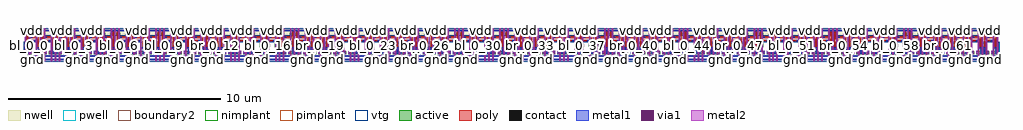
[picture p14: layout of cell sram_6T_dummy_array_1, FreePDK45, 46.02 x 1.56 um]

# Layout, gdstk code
import gdstk
lib = gdstk.Library(unit=1e-6, precision=5e-10)
def R(c, l, rs):  # rectangles x0, y0, x1, y1
    for r in rs: c.add(gdstk.rectangle(r[:2], r[2:], *l))
def A(c, l, x, y, w, h, nx, ny, dx, dy):  # array of equal rectangles
    R(c, l, [(x+i*dx, y+j*dy, x+i*dx+w, y+j*dy+h) for i in range(nx) for j in range(ny)])
active = (1, 0)
pwell = (2, 0)
nwell = (3, 0)
nimplant = (4, 0)
pimplant = (5, 0)
vtg = (6, 0)
poly = (9, 0)
contact = (10, 0)
metal1 = (11, 0)
via1 = (12, 0)
metal2 = (13, 0)
boundary2 = (239, 0)

dummy_cell_1rw = lib.new_cell('dummy_cell_1rw')
R(dummy_cell_1rw, active, [(0.3025,-0.045,0.3925,0.045), (0.3025,-0.045,0.3925,0.045), (0.045,0.2475,0.305,0.3825), (0.045,0.2475,0.12,0.3825), (0.045,0.2475,0.12,0.3825), (0.23,0.2475,0.305,0.3825), (0.23,0.2475,0.305,0.3825), (0.4,0.2475,0.66,0.3825), (0.4,0.2475,0.475,0.3825), (0.4,0.2475,0.475,0.3825), (0.585,0.2475,0.66,0.3825), (0.585,0.2475,0.66,0.3825), (0.045,0.3075,0.12,0.3825), (0.23,0.3075,0.305,0.3825), (0.4,0.3075,0.475,0.3825), (0.585,0.3075,0.66,0.3825), (-0.04,0.5675,0.04,0.7725), (-0.035,0.5675,0.225,0.7725), (-0.035,0.5675,0.04,0.7725), (0.15,0.5675,0.225,0.7725), (0.15,0.5675,0.225,0.7725), (0.48,0.5675,0.74,0.7725), (0.48,0.5675,0.555,0.7725), (0.48,0.5675,0.555,0.7725), (0.665,0.5675,0.74,0.7725), (0.665,0.5675,0.745,0.7725), (-0.035,0.6975,0.04,0.7725), (0.15,0.6975,0.225,0.7725), (0.48,0.6975,0.555,0.7725), (0.665,0.6975,0.74,0.7725), (-0.04,1.1625,0.04,1.2525), (-0.035,1.1625,0.04,1.2375), (-0.035,1.1625,0.225,1.2525), (-0.035,1.1625,0.04,1.2525), (0.15,1.1625,0.225,1.2375), (0.15,1.1625,0.225,1.2525), (0.15,1.1625,0.225,1.2525), (0.48,1.1625,0.555,1.2375), (0.48,1.1625,0.74,1.2525), (0.48,1.1625,0.555,1.2525), (0.48,1.1625,0.555,1.2525), (0.665,1.1625,0.74,1.2375), (0.665,1.1625,0.74,1.2525), (0.665,1.1625,0.745,1.2525), (0.3025,1.32,0.3925,1.41), (0.3025,1.32,0.3925,1.41)])
R(dummy_cell_1rw, pwell, [(-0.095,-0.1,0.8,0.8275), (0.2475,-0.1,0.4475,0.1), (0.2475,-0.08,0.4475,0.12), (-0.01,0.1925,0.36,0.4375), (0.345,0.1925,0.715,0.4375), (-0.09,0.5125,0.28,0.8275), (0.425,0.5125,0.795,0.8275)])
R(dummy_cell_1rw, nwell, [(-0.095,1.1075,0.8,1.465), (-0.09,1.1075,0.28,1.3075), (0.425,1.1075,0.795,1.3075), (0.2475,1.265,0.4475,1.465), (0.2475,1.265,0.4475,1.465)])
R(dummy_cell_1rw, nimplant, [(0.045,0.2475,0.305,0.3825), (0.4,0.2475,0.66,0.3825), (-0.035,0.5675,0.225,0.7725), (0.48,0.5675,0.74,0.7725), (0.3025,1.32,0.3925,1.41), (0.3025,1.32,0.3925,1.41)])
R(dummy_cell_1rw, pimplant, [(0.3025,-0.045,0.3925,0.045), (-0.035,1.1625,0.225,1.2525), (0.48,1.1625,0.74,1.2525)])
R(dummy_cell_1rw, vtg, [(-0.09,-0.1,0.795,0.8275), (-0.01,0.1925,0.36,0.4375), (0.345,0.1925,0.715,0.4375), (-0.09,0.5125,0.28,0.8275), (0.425,0.5125,0.795,0.8275), (-0.09,1.1075,0.28,1.3075), (-0.09,1.1075,0.795,1.465), (0.425,1.1075,0.795,1.3075)])
R(dummy_cell_1rw, poly, [(0.07,0.1225,0.635,0.1975), (0.2975,0.1225,0.3725,0.1975), (0.15,0.1925,0.2,0.2475), (0.15,0.1925,0.2,0.4375), (0.505,0.1925,0.555,0.2475), (0.505,0.1925,0.555,0.4375), (0.15,0.3825,0.2,0.4375), (0.505,0.3825,0.555,0.4375), (0.07,0.5125,0.12,0.5675), (0.07,0.5125,0.12,0.8275), (0.585,0.5125,0.635,0.5675), (0.585,0.5125,0.635,0.8275), (0.07,0.7725,0.12,0.8275), (0.585,0.7725,0.635,0.8275), (0.07,0.8275,0.12,1.1075), (0.07,0.8275,0.12,1.1075), (0.585,0.8275,0.635,1.1075), (0.585,0.8275,0.635,1.1075), (0.07,0.8625,0.5025,0.9375), (0.4275,0.8625,0.5025,0.9375), (0.4275,0.8625,0.5025,0.9375), (0.2025,1.0125,0.2775,1.0875), (0.2025,1.0125,0.2775,1.0875), (0.2025,1.0125,0.635,1.0875), (0.07,1.1075,0.12,1.1625), (0.07,1.1075,0.12,1.3075), (0.585,1.1075,0.635,1.1625), (0.585,1.1075,0.635,1.3075), (0.07,1.2525,0.12,1.3075), (0.585,1.2525,0.635,1.3075)])
R(dummy_cell_1rw, contact, [(0.315,-0.0325,0.38,0.0325), (0.3025,0.1275,0.3675,0.1925), (0.05,0.3125,0.115,0.3775), (0.235,0.3125,0.3,0.3775), (0.405,0.3125,0.47,0.3775), (0.59,0.3125,0.655,0.3775), (-0.0325,0.7025,0.0325,0.7675), (0.155,0.7025,0.22,0.7675), (0.485,0.7025,0.55,0.7675), (0.6725,0.7025,0.7375,0.7675), (0.4325,0.8675,0.4975,0.9325), (0.4325,0.8675,0.4975,0.9325), (0.2075,1.0175,0.2725,1.0825), (0.2075,1.0175,0.2725,1.0825), (-0.0325,1.1675,0.0325,1.2325), (0.155,1.1675,0.22,1.2325), (0.485,1.1675,0.55,1.2325), (0.6725,1.1675,0.7375,1.2325), (0.315,1.3325,0.38,1.3975)])
R(dummy_cell_1rw, metal1, [(-0.09,-0.0325,0.795,0.0325), (-0.09,-0.0325,0.795,0.0325), (0.285,-0.0325,0.42,0.0325), (0.285,-0.0325,0.42,0.0325), (0.6375,-0.0325,0.7725,0.0325), (0.6375,-0.0325,0.7725,0.0325), (0.6375,-0.0325,0.7725,0.0325), (0.6375,-0.0325,0.7725,0.0325), (-0.09,0.1275,0.795,0.1925), (-0.09,0.1275,0.795,0.1925), (0.2675,0.1275,0.4025,0.1925), (-0.085,0.13,-0.0325,0.1925), (0.62,0.13,0.6725,0.1925), (0.05,0.2775,0.115,0.4125), (0.05,0.2775,0.12,0.5675), (0.2225,0.2775,0.2875,0.4125), (0.235,0.2775,0.3,0.4125), (0.405,0.2775,0.47,0.4125), (0.4175,0.2775,0.4825,0.4125), (0.59,0.2775,0.655,0.4125), (0.59,0.2775,0.66,0.5675), (0.05,0.5025,0.22,0.5675), (0.155,0.5025,0.22,1.2425), (0.485,0.5025,0.66,0.5675), (0.485,0.5025,0.55,1.1325), (-0.035,0.6675,0.035,0.8025), (-0.035,0.6675,0.035,0.8025), (-0.03,0.6675,0.035,0.8025), (0.155,0.6675,0.22,0.8025), (0.485,0.6675,0.55,0.8025), (0.67,0.6675,0.735,0.8025), (0.67,0.6675,0.74,0.8025), (0.67,0.6675,0.74,0.8025), (0.67,0.6675,0.74,0.8025), (0.67,0.6675,0.74,0.8025), (0.67,0.6675,0.74,0.8025), (0.67,0.6675,0.74,0.8025), (-0.0325,0.77,0.0325,0.905), (-0.0325,0.77,0.0325,0.905), (-0.0325,0.77,0.0325,0.905), (-0.0325,0.77,0.0325,0.905), (-0.0325,0.77,0.0325,0.905), (-0.0325,0.77,0.0325,0.905), (0.6725,0.77,0.7375,0.905), (0.6725,0.77,0.7375,0.905), (0.6725,0.77,0.7375,0.905), (0.6725,0.77,0.7375,0.905), (0.6725,0.77,0.7375,0.905), (0.6725,0.77,0.7375,0.905), (0.6725,0.77,0.7375,0.905), (0.6725,0.77,0.7375,0.905), (0.6725,0.77,0.7375,0.905), (0.6725,0.77,0.7375,0.905), (0.6725,0.77,0.7375,0.905), (0.6725,0.77,0.7375,0.905), (0.6725,0.77,0.7375,0.905), (0.6725,0.77,0.7375,0.905), (0.6725,0.77,0.7375,0.905), (0.6725,0.77,0.7375,0.905), (0.6725,0.77,0.7375,0.905), (0.6725,0.77,0.7375,0.905), (0.6725,0.77,0.7375,0.905), (0.6725,0.77,0.7375,0.905), (0.6725,0.77,0.7375,0.905), (0.6725,0.77,0.7375,0.905), (0.6725,0.77,0.7375,0.905), (0.6725,0.77,0.7375,0.905), (0.3975,0.8675,0.5325,0.9325), (0.3975,0.8675,0.5325,0.9325), (0.1725,1.0175,0.3075,1.0825), (0.1725,1.0175,0.3075,1.0825), (-0.035,1.1325,0.035,1.3325), (-0.03,1.1325,0.035,1.2675), (0.155,1.1325,0.22,1.2675), (0.485,1.1325,0.55,1.2675), (0.67,1.1325,0.735,1.2675), (0.67,1.1325,0.74,1.3325), (0.67,1.1325,0.74,1.3325), (-0.09,1.3325,0.795,1.3975), (-0.09,1.3325,0.795,1.3975)])
R(dummy_cell_1rw, via1, [(-0.0325,-0.0325,0.0325,0.0325), (-0.0325,-0.0325,0.0325,0.0325), (0.6725,-0.0325,0.7375,0.0325), (0.6725,-0.0325,0.7375,0.0325), (0.6725,-0.0325,0.7375,0.0325), (0.6725,-0.0325,0.7375,0.0325), (-0.0325,0.805,0.0325,0.87), (-0.0325,0.805,0.0325,0.87), (-0.0325,0.805,0.0325,0.87), (-0.0325,0.805,0.0325,0.87), (-0.0325,0.805,0.0325,0.87), (-0.0325,0.805,0.0325,0.87), (0.6725,0.805,0.7375,0.87), (0.6725,0.805,0.7375,0.87), (0.6725,0.805,0.7375,0.87), (0.6725,0.805,0.7375,0.87), (0.6725,0.805,0.7375,0.87), (0.6725,0.805,0.7375,0.87), (0.6725,0.805,0.7375,0.87), (0.6725,0.805,0.7375,0.87), (0.6725,0.805,0.7375,0.87), (0.6725,0.805,0.7375,0.87), (0.6725,0.805,0.7375,0.87), (0.6725,0.805,0.7375,0.87), (0.6725,0.805,0.7375,0.87), (0.6725,0.805,0.7375,0.87), (0.6725,0.805,0.7375,0.87), (0.6725,0.805,0.7375,0.87), (0.6725,0.805,0.7375,0.87), (0.6725,0.805,0.7375,0.87), (0.6725,0.805,0.7375,0.87), (0.6725,0.805,0.7375,0.87), (0.6725,0.805,0.7375,0.87), (0.6725,0.805,0.7375,0.87), (0.6725,0.805,0.7375,0.87), (0.6725,0.805,0.7375,0.87)])
R(dummy_cell_1rw, metal2, [(-0.035,-0.08,0.035,1.465), (0.15,-0.08,0.22,1.465), (0.15,-0.08,0.22,1.465), (0.485,-0.08,0.555,1.465), (0.485,-0.08,0.555,1.465), (0.67,-0.08,0.74,1.465), (0.6375,-0.035,0.7725,0.035), (0.6375,-0.035,0.7725,0.035), (0.6375,-0.035,0.7725,0.035), (0.6375,-0.035,0.7725,0.035), (0.4925,-0.0325,0.55,0.0275), (-0.03,-0.03,0.03,0.0275), (0.1575,-0.025,0.2125,0.0275), (0.675,-0.025,0.735,0.0325), (0.67,-0.0125,0.74,1.3975), (0.22,0.2775,0.29,0.4125), (0.415,0.2775,0.485,0.4125), (-0.035,0.77,0.035,0.905), (-0.035,0.77,0.035,0.905), (-0.035,0.77,0.035,0.905), (-0.035,0.77,0.035,0.905), (-0.035,0.77,0.035,0.905), (-0.035,0.77,0.035,0.905), (0.67,0.77,0.74,0.905), (0.67,0.77,0.74,0.905), (0.67,0.77,0.74,0.905), (0.67,0.77,0.74,0.905), (0.67,0.77,0.74,0.905), (0.67,0.77,0.74,0.905), (0.67,0.77,0.74,0.905), (0.67,0.77,0.74,0.905), (0.67,0.77,0.74,0.905), (0.67,0.77,0.74,0.905), (0.67,0.77,0.74,0.905), (0.67,0.77,0.74,0.905), (0.67,0.77,0.74,0.905), (0.67,0.77,0.74,0.905), (0.67,0.77,0.74,0.905), (0.67,0.77,0.74,0.905), (0.67,0.77,0.74,0.905), (0.67,0.77,0.74,0.905), (0.67,0.77,0.74,0.905), (0.67,0.77,0.74,0.905), (0.67,0.77,0.74,0.905), (0.67,0.77,0.74,0.905), (0.67,0.77,0.74,0.905), (0.67,0.77,0.74,0.905)])
R(dummy_cell_1rw, boundary2, [(0,0.02,0.705,1.365)])
dummy_cell_1rw.add(gdstk.Label('gnd', (0.345,0), layer=11, texttype=0))
dummy_cell_1rw.add(gdstk.Label('vdd', (0.345,1.365), layer=11, texttype=0))
dummy_cell_1rw.add(gdstk.Label('wl', (-0.05,0.167), layer=11, texttype=0))
dummy_cell_1rw.add(gdstk.Label('br', (0.52,0.003), layer=13, texttype=0))
dummy_cell_1rw.add(gdstk.Label('bl', (0.19,0.003), layer=13, texttype=0))
dummy_cell_1rw.add(gdstk.Label('bl', (0.185,0.6925), layer=13, texttype=0))
dummy_cell_1rw.add(gdstk.Label('br', (0.52,0.6925), layer=13, texttype=0))
dummy_cell_1rw.add(gdstk.Label('wl', (0.3525,0.16), layer=11, texttype=0))
dummy_cell_1rw.add(gdstk.Label('vdd', (0.3525,1.365), layer=11, texttype=0))
dummy_cell_1rw.add(gdstk.Label('gnd', (0.3525,0), layer=11, texttype=0))

sram_6t_dummy_array_1 = lib.new_cell('sram_6T_dummy_array_1')
A(sram_6t_dummy_array_1, metal1, -0.09, -0.0325, 0.885, 0.065, 65, 2, 0.705, 1.365)
R(sram_6t_dummy_array_1, metal1, [(0,0.1275,45.825,0.1925)])
R(sram_6t_dummy_array_1, metal2, [(0.15,0,0.22,1.365), (0.485,0,0.555,1.365), (0.855,0,0.925,1.365), (1.19,0,1.26,1.365), (1.56,0,1.63,1.365), (1.895,0,1.965,1.365), (2.265,0,2.335,1.365), (2.6,0,2.67,1.365), (2.97,0,3.04,1.365), (3.305,0,3.375,1.365), (3.675,0,3.745,1.365), (4.01,0,4.08,1.365), (4.38,0,4.45,1.365), (4.715,0,4.785,1.365), (5.085,0,5.155,1.365), (5.42,0,5.49,1.365), (5.79,0,5.86,1.365), (6.125,0,6.195,1.365), (6.495,0,6.565,1.365), (6.83,0,6.9,1.365), (7.2,0,7.27,1.365), (7.535,0,7.605,1.365), (7.905,0,7.975,1.365), (8.24,0,8.31,1.365), (8.61,0,8.68,1.365), (8.945,0,9.015,1.365), (9.315,0,9.385,1.365), (9.65,0,9.72,1.365), (10.02,0,10.09,1.365), (10.355,0,10.425,1.365), (10.725,0,10.795,1.365), (11.06,0,11.13,1.365), (11.43,0,11.5,1.365), (11.765,0,11.835,1.365), (12.135,0,12.205,1.365), (12.47,0,12.54,1.365), (12.84,0,12.91,1.365), (13.175,0,13.245,1.365), (13.545,0,13.615,1.365), (13.88,0,13.95,1.365), (14.25,0,14.32,1.365), (14.585,0,14.655,1.365), (14.955,0,15.025,1.365), (15.29,0,15.36,1.365), (15.66,0,15.73,1.365), (15.995,0,16.065,1.365), (16.365,0,16.435,1.365), (16.7,0,16.77,1.365), (17.07,0,17.14,1.365), (17.405,0,17.475,1.365), (17.775,0,17.845,1.365), (18.11,0,18.18,1.365), (18.48,0,18.55,1.365), (18.815,0,18.885,1.365), (19.185,0,19.255,1.365), (19.52,0,19.59,1.365), (19.89,0,19.96,1.365), (20.225,0,20.295,1.365), (20.595,0,20.665,1.365), (20.93,0,21,1.365), (21.3,0,21.37,1.365), (21.635,0,21.705,1.365), (22.005,0,22.075,1.365), (22.34,0,22.41,1.365), (22.71,0,22.78,1.365), (23.045,0,23.115,1.365), (23.415,0,23.485,1.365), (23.75,0,23.82,1.365), (24.12,0,24.19,1.365), (24.455,0,24.525,1.365), (24.825,0,24.895,1.365), (25.16,0,25.23,1.365), (25.53,0,25.6,1.365), (25.865,0,25.935,1.365), (26.235,0,26.305,1.365), (26.57,0,26.64,1.365), (26.94,0,27.01,1.365), (27.275,0,27.345,1.365), (27.645,0,27.715,1.365), (27.98,0,28.05,1.365), (28.35,0,28.42,1.365), (28.685,0,28.755,1.365), (29.055,0,29.125,1.365), (29.39,0,29.46,1.365), (29.76,0,29.83,1.365), (30.095,0,30.165,1.365), (30.465,0,30.535,1.365), (30.8,0,30.87,1.365), (31.17,0,31.24,1.365), (31.505,0,31.575,1.365), (31.875,0,31.945,1.365), (32.21,0,32.28,1.365), (32.58,0,32.65,1.365), (32.915,0,32.985,1.365), (33.285,0,33.355,1.365), (33.62,0,33.69,1.365), (33.99,0,34.06,1.365), (34.325,0,34.395,1.365), (34.695,0,34.765,1.365), (35.03,0,35.1,1.365), (35.4,0,35.47,1.365), (35.735,0,35.805,1.365), (36.105,0,36.175,1.365), (36.44,0,36.51,1.365), (36.81,0,36.88,1.365), (37.145,0,37.215,1.365), (37.515,0,37.585,1.365), (37.85,0,37.92,1.365), (38.22,0,38.29,1.365), (38.555,0,38.625,1.365), (38.925,0,38.995,1.365), (39.26,0,39.33,1.365), (39.63,0,39.7,1.365), (39.965,0,40.035,1.365), (40.335,0,40.405,1.365), (40.67,0,40.74,1.365), (41.04,0,41.11,1.365), (41.375,0,41.445,1.365), (41.745,0,41.815,1.365), (42.08,0,42.15,1.365), (42.45,0,42.52,1.365), (42.785,0,42.855,1.365), (43.155,0,43.225,1.365), (43.49,0,43.56,1.365), (43.86,0,43.93,1.365), (44.195,0,44.265,1.365), (44.565,0,44.635,1.365), (44.9,0,44.97,1.365), (45.27,0,45.34,1.365), (45.605,0,45.675,1.365)])
R(sram_6t_dummy_array_1, boundary2, [(0,0,45.825,1.365)])
sram_6t_dummy_array_1.add(gdstk.Reference(dummy_cell_1rw, (0,0)))
sram_6t_dummy_array_1.add(gdstk.Reference(dummy_cell_1rw, (0.705,0)))
sram_6t_dummy_array_1.add(gdstk.Reference(dummy_cell_1rw, (1.41,0)))
sram_6t_dummy_array_1.add(gdstk.Reference(dummy_cell_1rw, (2.115,0)))
sram_6t_dummy_array_1.add(gdstk.Reference(dummy_cell_1rw, (2.82,0)))
sram_6t_dummy_array_1.add(gdstk.Reference(dummy_cell_1rw, (3.525,0)))
sram_6t_dummy_array_1.add(gdstk.Reference(dummy_cell_1rw, (4.23,0)))
sram_6t_dummy_array_1.add(gdstk.Reference(dummy_cell_1rw, (4.935,0)))
sram_6t_dummy_array_1.add(gdstk.Reference(dummy_cell_1rw, (5.64,0)))
sram_6t_dummy_array_1.add(gdstk.Reference(dummy_cell_1rw, (6.345,0)))
sram_6t_dummy_array_1.add(gdstk.Reference(dummy_cell_1rw, (7.05,0)))
sram_6t_dummy_array_1.add(gdstk.Reference(dummy_cell_1rw, (7.755,0)))
sram_6t_dummy_array_1.add(gdstk.Reference(dummy_cell_1rw, (8.46,0)))
sram_6t_dummy_array_1.add(gdstk.Reference(dummy_cell_1rw, (9.165,0)))
sram_6t_dummy_array_1.add(gdstk.Reference(dummy_cell_1rw, (9.87,0)))
sram_6t_dummy_array_1.add(gdstk.Reference(dummy_cell_1rw, (10.575,0)))
sram_6t_dummy_array_1.add(gdstk.Reference(dummy_cell_1rw, (11.28,0)))
sram_6t_dummy_array_1.add(gdstk.Reference(dummy_cell_1rw, (11.985,0)))
sram_6t_dummy_array_1.add(gdstk.Reference(dummy_cell_1rw, (12.69,0)))
sram_6t_dummy_array_1.add(gdstk.Reference(dummy_cell_1rw, (13.395,0)))
sram_6t_dummy_array_1.add(gdstk.Reference(dummy_cell_1rw, (14.1,0)))
sram_6t_dummy_array_1.add(gdstk.Reference(dummy_cell_1rw, (14.805,0)))
sram_6t_dummy_array_1.add(gdstk.Reference(dummy_cell_1rw, (15.51,0)))
sram_6t_dummy_array_1.add(gdstk.Reference(dummy_cell_1rw, (16.215,0)))
sram_6t_dummy_array_1.add(gdstk.Reference(dummy_cell_1rw, (16.92,0)))
sram_6t_dummy_array_1.add(gdstk.Reference(dummy_cell_1rw, (17.625,0)))
sram_6t_dummy_array_1.add(gdstk.Reference(dummy_cell_1rw, (18.33,0)))
sram_6t_dummy_array_1.add(gdstk.Reference(dummy_cell_1rw, (19.035,0)))
sram_6t_dummy_array_1.add(gdstk.Reference(dummy_cell_1rw, (19.74,0)))
sram_6t_dummy_array_1.add(gdstk.Reference(dummy_cell_1rw, (20.445,0)))
sram_6t_dummy_array_1.add(gdstk.Reference(dummy_cell_1rw, (21.15,0)))
sram_6t_dummy_array_1.add(gdstk.Reference(dummy_cell_1rw, (21.855,0)))
sram_6t_dummy_array_1.add(gdstk.Reference(dummy_cell_1rw, (22.56,0)))
sram_6t_dummy_array_1.add(gdstk.Reference(dummy_cell_1rw, (23.265,0)))
sram_6t_dummy_array_1.add(gdstk.Reference(dummy_cell_1rw, (23.97,0)))
sram_6t_dummy_array_1.add(gdstk.Reference(dummy_cell_1rw, (24.675,0)))
sram_6t_dummy_array_1.add(gdstk.Reference(dummy_cell_1rw, (25.38,0)))
sram_6t_dummy_array_1.add(gdstk.Reference(dummy_cell_1rw, (26.085,0)))
sram_6t_dummy_array_1.add(gdstk.Reference(dummy_cell_1rw, (26.79,0)))
sram_6t_dummy_array_1.add(gdstk.Reference(dummy_cell_1rw, (27.495,0)))
sram_6t_dummy_array_1.add(gdstk.Reference(dummy_cell_1rw, (28.2,0)))
sram_6t_dummy_array_1.add(gdstk.Reference(dummy_cell_1rw, (28.905,0)))
sram_6t_dummy_array_1.add(gdstk.Reference(dummy_cell_1rw, (29.61,0)))
sram_6t_dummy_array_1.add(gdstk.Reference(dummy_cell_1rw, (30.315,0)))
sram_6t_dummy_array_1.add(gdstk.Reference(dummy_cell_1rw, (31.02,0)))
sram_6t_dummy_array_1.add(gdstk.Reference(dummy_cell_1rw, (31.725,0)))
sram_6t_dummy_array_1.add(gdstk.Reference(dummy_cell_1rw, (32.43,0)))
sram_6t_dummy_array_1.add(gdstk.Reference(dummy_cell_1rw, (33.135,0)))
sram_6t_dummy_array_1.add(gdstk.Reference(dummy_cell_1rw, (33.84,0)))
sram_6t_dummy_array_1.add(gdstk.Reference(dummy_cell_1rw, (34.545,0)))
sram_6t_dummy_array_1.add(gdstk.Reference(dummy_cell_1rw, (35.25,0)))
sram_6t_dummy_array_1.add(gdstk.Reference(dummy_cell_1rw, (35.955,0)))
sram_6t_dummy_array_1.add(gdstk.Reference(dummy_cell_1rw, (36.66,0)))
sram_6t_dummy_array_1.add(gdstk.Reference(dummy_cell_1rw, (37.365,0)))
sram_6t_dummy_array_1.add(gdstk.Reference(dummy_cell_1rw, (38.07,0)))
sram_6t_dummy_array_1.add(gdstk.Reference(dummy_cell_1rw, (38.775,0)))
sram_6t_dummy_array_1.add(gdstk.Reference(dummy_cell_1rw, (39.48,0)))
sram_6t_dummy_array_1.add(gdstk.Reference(dummy_cell_1rw, (40.185,0)))
sram_6t_dummy_array_1.add(gdstk.Reference(dummy_cell_1rw, (40.89,0)))
sram_6t_dummy_array_1.add(gdstk.Reference(dummy_cell_1rw, (41.595,0)))
sram_6t_dummy_array_1.add(gdstk.Reference(dummy_cell_1rw, (42.3,0)))
sram_6t_dummy_array_1.add(gdstk.Reference(dummy_cell_1rw, (43.005,0)))
sram_6t_dummy_array_1.add(gdstk.Reference(dummy_cell_1rw, (43.71,0)))
sram_6t_dummy_array_1.add(gdstk.Reference(dummy_cell_1rw, (44.415,0)))
sram_6t_dummy_array_1.add(gdstk.Reference(dummy_cell_1rw, (45.12,0)))
sram_6t_dummy_array_1.add(gdstk.Label('bl_0_0', (0.185,0.6825), layer=13, texttype=0))
sram_6t_dummy_array_1.add(gdstk.Label('br_0_0', (0.52,0.6825), layer=13, texttype=0))
sram_6t_dummy_array_1.add(gdstk.Label('bl_0_1', (0.89,0.6825), layer=13, texttype=0))
sram_6t_dummy_array_1.add(gdstk.Label('br_0_1', (1.225,0.6825), layer=13, texttype=0))
sram_6t_dummy_array_1.add(gdstk.Label('bl_0_2', (1.595,0.6825), layer=13, texttype=0))
sram_6t_dummy_array_1.add(gdstk.Label('br_0_2', (1.93,0.6825), layer=13, texttype=0))
sram_6t_dummy_array_1.add(gdstk.Label('bl_0_3', (2.3,0.6825), layer=13, texttype=0))
sram_6t_dummy_array_1.add(gdstk.Label('br_0_3', (2.635,0.6825), layer=13, texttype=0))
sram_6t_dummy_array_1.add(gdstk.Label('bl_0_4', (3.005,0.6825), layer=13, texttype=0))
sram_6t_dummy_array_1.add(gdstk.Label('br_0_4', (3.34,0.6825), layer=13, texttype=0))
sram_6t_dummy_array_1.add(gdstk.Label('bl_0_5', (3.71,0.6825), layer=13, texttype=0))
sram_6t_dummy_array_1.add(gdstk.Label('br_0_5', (4.045,0.6825), layer=13, texttype=0))
sram_6t_dummy_array_1.add(gdstk.Label('bl_0_6', (4.415,0.6825), layer=13, texttype=0))
sram_6t_dummy_array_1.add(gdstk.Label('br_0_6', (4.75,0.6825), layer=13, texttype=0))
sram_6t_dummy_array_1.add(gdstk.Label('bl_0_7', (5.12,0.6825), layer=13, texttype=0))
sram_6t_dummy_array_1.add(gdstk.Label('br_0_7', (5.455,0.6825), layer=13, texttype=0))
sram_6t_dummy_array_1.add(gdstk.Label('bl_0_8', (5.825,0.6825), layer=13, texttype=0))
sram_6t_dummy_array_1.add(gdstk.Label('br_0_8', (6.16,0.6825), layer=13, texttype=0))
sram_6t_dummy_array_1.add(gdstk.Label('bl_0_9', (6.53,0.6825), layer=13, texttype=0))
sram_6t_dummy_array_1.add(gdstk.Label('br_0_9', (6.865,0.6825), layer=13, texttype=0))
sram_6t_dummy_array_1.add(gdstk.Label('bl_0_10', (7.235,0.6825), layer=13, texttype=0))
sram_6t_dummy_array_1.add(gdstk.Label('br_0_10', (7.57,0.6825), layer=13, texttype=0))
sram_6t_dummy_array_1.add(gdstk.Label('bl_0_11', (7.94,0.6825), layer=13, texttype=0))
sram_6t_dummy_array_1.add(gdstk.Label('br_0_11', (8.275,0.6825), layer=13, texttype=0))
sram_6t_dummy_array_1.add(gdstk.Label('bl_0_12', (8.645,0.6825), layer=13, texttype=0))
sram_6t_dummy_array_1.add(gdstk.Label('br_0_12', (8.98,0.6825), layer=13, texttype=0))
sram_6t_dummy_array_1.add(gdstk.Label('bl_0_13', (9.35,0.6825), layer=13, texttype=0))
sram_6t_dummy_array_1.add(gdstk.Label('br_0_13', (9.685,0.6825), layer=13, texttype=0))
sram_6t_dummy_array_1.add(gdstk.Label('bl_0_14', (10.055,0.6825), layer=13, texttype=0))
sram_6t_dummy_array_1.add(gdstk.Label('br_0_14', (10.39,0.6825), layer=13, texttype=0))
sram_6t_dummy_array_1.add(gdstk.Label('bl_0_15', (10.76,0.6825), layer=13, texttype=0))
sram_6t_dummy_array_1.add(gdstk.Label('br_0_15', (11.095,0.6825), layer=13, texttype=0))
sram_6t_dummy_array_1.add(gdstk.Label('bl_0_16', (11.465,0.6825), layer=13, texttype=0))
sram_6t_dummy_array_1.add(gdstk.Label('br_0_16', (11.8,0.6825), layer=13, texttype=0))
sram_6t_dummy_array_1.add(gdstk.Label('bl_0_17', (12.17,0.6825), layer=13, texttype=0))
sram_6t_dummy_array_1.add(gdstk.Label('br_0_17', (12.505,0.6825), layer=13, texttype=0))
sram_6t_dummy_array_1.add(gdstk.Label('bl_0_18', (12.875,0.6825), layer=13, texttype=0))
sram_6t_dummy_array_1.add(gdstk.Label('br_0_18', (13.21,0.6825), layer=13, texttype=0))
sram_6t_dummy_array_1.add(gdstk.Label('bl_0_19', (13.58,0.6825), layer=13, texttype=0))
sram_6t_dummy_array_1.add(gdstk.Label('br_0_19', (13.915,0.6825), layer=13, texttype=0))
sram_6t_dummy_array_1.add(gdstk.Label('bl_0_20', (14.285,0.6825), layer=13, texttype=0))
sram_6t_dummy_array_1.add(gdstk.Label('br_0_20', (14.62,0.6825), layer=13, texttype=0))
sram_6t_dummy_array_1.add(gdstk.Label('bl_0_21', (14.99,0.6825), layer=13, texttype=0))
sram_6t_dummy_array_1.add(gdstk.Label('br_0_21', (15.325,0.6825), layer=13, texttype=0))
sram_6t_dummy_array_1.add(gdstk.Label('bl_0_22', (15.695,0.6825), layer=13, texttype=0))
sram_6t_dummy_array_1.add(gdstk.Label('br_0_22', (16.03,0.6825), layer=13, texttype=0))
sram_6t_dummy_array_1.add(gdstk.Label('bl_0_23', (16.4,0.6825), layer=13, texttype=0))
sram_6t_dummy_array_1.add(gdstk.Label('br_0_23', (16.735,0.6825), layer=13, texttype=0))
sram_6t_dummy_array_1.add(gdstk.Label('bl_0_24', (17.105,0.6825), layer=13, texttype=0))
sram_6t_dummy_array_1.add(gdstk.Label('br_0_24', (17.44,0.6825), layer=13, texttype=0))
sram_6t_dummy_array_1.add(gdstk.Label('bl_0_25', (17.81,0.6825), layer=13, texttype=0))
sram_6t_dummy_array_1.add(gdstk.Label('br_0_25', (18.145,0.6825), layer=13, texttype=0))
sram_6t_dummy_array_1.add(gdstk.Label('bl_0_26', (18.515,0.6825), layer=13, texttype=0))
sram_6t_dummy_array_1.add(gdstk.Label('br_0_26', (18.85,0.6825), layer=13, texttype=0))
sram_6t_dummy_array_1.add(gdstk.Label('bl_0_27', (19.22,0.6825), layer=13, texttype=0))
sram_6t_dummy_array_1.add(gdstk.Label('br_0_27', (19.555,0.6825), layer=13, texttype=0))
sram_6t_dummy_array_1.add(gdstk.Label('bl_0_28', (19.925,0.6825), layer=13, texttype=0))
sram_6t_dummy_array_1.add(gdstk.Label('br_0_28', (20.26,0.6825), layer=13, texttype=0))
sram_6t_dummy_array_1.add(gdstk.Label('bl_0_29', (20.63,0.6825), layer=13, texttype=0))
sram_6t_dummy_array_1.add(gdstk.Label('br_0_29', (20.965,0.6825), layer=13, texttype=0))
sram_6t_dummy_array_1.add(gdstk.Label('bl_0_30', (21.335,0.6825), layer=13, texttype=0))
sram_6t_dummy_array_1.add(gdstk.Label('br_0_30', (21.67,0.6825), layer=13, texttype=0))
sram_6t_dummy_array_1.add(gdstk.Label('bl_0_31', (22.04,0.6825), layer=13, texttype=0))
sram_6t_dummy_array_1.add(gdstk.Label('br_0_31', (22.375,0.6825), layer=13, texttype=0))
sram_6t_dummy_array_1.add(gdstk.Label('bl_0_32', (22.745,0.6825), layer=13, texttype=0))
sram_6t_dummy_array_1.add(gdstk.Label('br_0_32', (23.08,0.6825), layer=13, texttype=0))
sram_6t_dummy_array_1.add(gdstk.Label('bl_0_33', (23.45,0.6825), layer=13, texttype=0))
sram_6t_dummy_array_1.add(gdstk.Label('br_0_33', (23.785,0.6825), layer=13, texttype=0))
sram_6t_dummy_array_1.add(gdstk.Label('bl_0_34', (24.155,0.6825), layer=13, texttype=0))
sram_6t_dummy_array_1.add(gdstk.Label('br_0_34', (24.49,0.6825), layer=13, texttype=0))
sram_6t_dummy_array_1.add(gdstk.Label('bl_0_35', (24.86,0.6825), layer=13, texttype=0))
sram_6t_dummy_array_1.add(gdstk.Label('br_0_35', (25.195,0.6825), layer=13, texttype=0))
sram_6t_dummy_array_1.add(gdstk.Label('bl_0_36', (25.565,0.6825), layer=13, texttype=0))
sram_6t_dummy_array_1.add(gdstk.Label('br_0_36', (25.9,0.6825), layer=13, texttype=0))
sram_6t_dummy_array_1.add(gdstk.Label('bl_0_37', (26.27,0.6825), layer=13, texttype=0))
sram_6t_dummy_array_1.add(gdstk.Label('br_0_37', (26.605,0.6825), layer=13, texttype=0))
sram_6t_dummy_array_1.add(gdstk.Label('bl_0_38', (26.975,0.6825), layer=13, texttype=0))
sram_6t_dummy_array_1.add(gdstk.Label('br_0_38', (27.31,0.6825), layer=13, texttype=0))
sram_6t_dummy_array_1.add(gdstk.Label('bl_0_39', (27.68,0.6825), layer=13, texttype=0))
sram_6t_dummy_array_1.add(gdstk.Label('br_0_39', (28.015,0.6825), layer=13, texttype=0))
sram_6t_dummy_array_1.add(gdstk.Label('bl_0_40', (28.385,0.6825), layer=13, texttype=0))
sram_6t_dummy_array_1.add(gdstk.Label('br_0_40', (28.72,0.6825), layer=13, texttype=0))
sram_6t_dummy_array_1.add(gdstk.Label('bl_0_41', (29.09,0.6825), layer=13, texttype=0))
sram_6t_dummy_array_1.add(gdstk.Label('br_0_41', (29.425,0.6825), layer=13, texttype=0))
sram_6t_dummy_array_1.add(gdstk.Label('bl_0_42', (29.795,0.6825), layer=13, texttype=0))
sram_6t_dummy_array_1.add(gdstk.Label('br_0_42', (30.13,0.6825), layer=13, texttype=0))
sram_6t_dummy_array_1.add(gdstk.Label('bl_0_43', (30.5,0.6825), layer=13, texttype=0))
sram_6t_dummy_array_1.add(gdstk.Label('br_0_43', (30.835,0.6825), layer=13, texttype=0))
sram_6t_dummy_array_1.add(gdstk.Label('bl_0_44', (31.205,0.6825), layer=13, texttype=0))
sram_6t_dummy_array_1.add(gdstk.Label('br_0_44', (31.54,0.6825), layer=13, texttype=0))
sram_6t_dummy_array_1.add(gdstk.Label('bl_0_45', (31.91,0.6825), layer=13, texttype=0))
sram_6t_dummy_array_1.add(gdstk.Label('br_0_45', (32.245,0.6825), layer=13, texttype=0))
sram_6t_dummy_array_1.add(gdstk.Label('bl_0_46', (32.615,0.6825), layer=13, texttype=0))
sram_6t_dummy_array_1.add(gdstk.Label('br_0_46', (32.95,0.6825), layer=13, texttype=0))
sram_6t_dummy_array_1.add(gdstk.Label('bl_0_47', (33.32,0.6825), layer=13, texttype=0))
sram_6t_dummy_array_1.add(gdstk.Label('br_0_47', (33.655,0.6825), layer=13, texttype=0))
sram_6t_dummy_array_1.add(gdstk.Label('bl_0_48', (34.025,0.6825), layer=13, texttype=0))
sram_6t_dummy_array_1.add(gdstk.Label('br_0_48', (34.36,0.6825), layer=13, texttype=0))
sram_6t_dummy_array_1.add(gdstk.Label('bl_0_49', (34.73,0.6825), layer=13, texttype=0))
sram_6t_dummy_array_1.add(gdstk.Label('br_0_49', (35.065,0.6825), layer=13, texttype=0))
sram_6t_dummy_array_1.add(gdstk.Label('bl_0_50', (35.435,0.6825), layer=13, texttype=0))
sram_6t_dummy_array_1.add(gdstk.Label('br_0_50', (35.77,0.6825), layer=13, texttype=0))
sram_6t_dummy_array_1.add(gdstk.Label('bl_0_51', (36.14,0.6825), layer=13, texttype=0))
sram_6t_dummy_array_1.add(gdstk.Label('br_0_51', (36.475,0.6825), layer=13, texttype=0))
sram_6t_dummy_array_1.add(gdstk.Label('bl_0_52', (36.845,0.6825), layer=13, texttype=0))
sram_6t_dummy_array_1.add(gdstk.Label('br_0_52', (37.18,0.6825), layer=13, texttype=0))
sram_6t_dummy_array_1.add(gdstk.Label('bl_0_53', (37.55,0.6825), layer=13, texttype=0))
sram_6t_dummy_array_1.add(gdstk.Label('br_0_53', (37.885,0.6825), layer=13, texttype=0))
sram_6t_dummy_array_1.add(gdstk.Label('bl_0_54', (38.255,0.6825), layer=13, texttype=0))
sram_6t_dummy_array_1.add(gdstk.Label('br_0_54', (38.59,0.6825), layer=13, texttype=0))
sram_6t_dummy_array_1.add(gdstk.Label('bl_0_55', (38.96,0.6825), layer=13, texttype=0))
sram_6t_dummy_array_1.add(gdstk.Label('br_0_55', (39.295,0.6825), layer=13, texttype=0))
sram_6t_dummy_array_1.add(gdstk.Label('bl_0_56', (39.665,0.6825), layer=13, texttype=0))
sram_6t_dummy_array_1.add(gdstk.Label('br_0_56', (40,0.6825), layer=13, texttype=0))
sram_6t_dummy_array_1.add(gdstk.Label('bl_0_57', (40.37,0.6825), layer=13, texttype=0))
sram_6t_dummy_array_1.add(gdstk.Label('br_0_57', (40.705,0.6825), layer=13, texttype=0))
sram_6t_dummy_array_1.add(gdstk.Label('bl_0_58', (41.075,0.6825), layer=13, texttype=0))
sram_6t_dummy_array_1.add(gdstk.Label('br_0_58', (41.41,0.6825), layer=13, texttype=0))
sram_6t_dummy_array_1.add(gdstk.Label('bl_0_59', (41.78,0.6825), layer=13, texttype=0))
sram_6t_dummy_array_1.add(gdstk.Label('br_0_59', (42.115,0.6825), layer=13, texttype=0))
sram_6t_dummy_array_1.add(gdstk.Label('bl_0_60', (42.485,0.6825), layer=13, texttype=0))
sram_6t_dummy_array_1.add(gdstk.Label('br_0_60', (42.82,0.6825), layer=13, texttype=0))
sram_6t_dummy_array_1.add(gdstk.Label('bl_0_61', (43.19,0.6825), layer=13, texttype=0))
sram_6t_dummy_array_1.add(gdstk.Label('br_0_61', (43.525,0.6825), layer=13, texttype=0))
sram_6t_dummy_array_1.add(gdstk.Label('bl_0_62', (43.895,0.6825), layer=13, texttype=0))
sram_6t_dummy_array_1.add(gdstk.Label('br_0_62', (44.23,0.6825), layer=13, texttype=0))
sram_6t_dummy_array_1.add(gdstk.Label('bl_0_63', (44.6,0.6825), layer=13, texttype=0))
sram_6t_dummy_array_1.add(gdstk.Label('br_0_63', (44.935,0.6825), layer=13, texttype=0))
sram_6t_dummy_array_1.add(gdstk.Label('bl_0_64', (45.305,0.6825), layer=13, texttype=0))
sram_6t_dummy_array_1.add(gdstk.Label('br_0_64', (45.64,0.6825), layer=13, texttype=0))
sram_6t_dummy_array_1.add(gdstk.Label('wl_0_0', (22.9125,0.16), layer=11, texttype=0))
sram_6t_dummy_array_1.add(gdstk.Label('vdd', (5.2875,1.365), layer=11, texttype=0))
sram_6t_dummy_array_1.add(gdstk.Label('vdd', (13.7475,1.365), layer=11, texttype=0))
sram_6t_dummy_array_1.add(gdstk.Label('vdd', (21.5025,1.365), layer=11, texttype=0))
sram_6t_dummy_array_1.add(gdstk.Label('vdd', (39.1275,1.365), layer=11, texttype=0))
sram_6t_dummy_array_1.add(gdstk.Label('vdd', (28.5525,1.365), layer=11, texttype=0))
sram_6t_dummy_array_1.add(gdstk.Label('vdd', (45.4725,1.365), layer=11, texttype=0))
sram_6t_dummy_array_1.add(gdstk.Label('vdd', (23.6175,1.365), layer=11, texttype=0))
sram_6t_dummy_array_1.add(gdstk.Label('vdd', (32.0775,1.365), layer=11, texttype=0))
sram_6t_dummy_array_1.add(gdstk.Label('vdd', (19.3875,1.365), layer=11, texttype=0))
sram_6t_dummy_array_1.add(gdstk.Label('vdd', (7.4025,1.365), layer=11, texttype=0))
sram_6t_dummy_array_1.add(gdstk.Label('vdd', (11.6325,1.365), layer=11, texttype=0))
sram_6t_dummy_array_1.add(gdstk.Label('vdd', (29.9625,1.365), layer=11, texttype=0))
sram_6t_dummy_array_1.add(gdstk.Label('vdd', (27.8475,1.365), layer=11, texttype=0))
sram_6t_dummy_array_1.add(gdstk.Label('vdd', (37.0125,1.365), layer=11, texttype=0))
sram_6t_dummy_array_1.add(gdstk.Label('vdd', (5.9925,1.365), layer=11, texttype=0))
sram_6t_dummy_array_1.add(gdstk.Label('vdd', (15.1575,1.365), layer=11, texttype=0))
sram_6t_dummy_array_1.add(gdstk.Label('vdd', (33.4875,1.365), layer=11, texttype=0))
sram_6t_dummy_array_1.add(gdstk.Label('vdd', (26.4375,1.365), layer=11, texttype=0))
sram_6t_dummy_array_1.add(gdstk.Label('vdd', (42.6525,1.365), layer=11, texttype=0))
sram_6t_dummy_array_1.add(gdstk.Label('vdd', (12.3375,1.365), layer=11, texttype=0))
sram_6t_dummy_array_1.add(gdstk.Label('vdd', (17.9775,1.365), layer=11, texttype=0))
sram_6t_dummy_array_1.add(gdstk.Label('vdd', (8.8125,1.365), layer=11, texttype=0))
sram_6t_dummy_array_1.add(gdstk.Label('vdd', (3.1725,1.365), layer=11, texttype=0))
sram_6t_dummy_array_1.add(gdstk.Label('vdd', (40.5375,1.365), layer=11, texttype=0))
sram_6t_dummy_array_1.add(gdstk.Label('vdd', (41.9475,1.365), layer=11, texttype=0))
sram_6t_dummy_array_1.add(gdstk.Label('vdd', (6.6975,1.365), layer=11, texttype=0))
sram_6t_dummy_array_1.add(gdstk.Label('vdd', (10.2225,1.365), layer=11, texttype=0))
sram_6t_dummy_array_1.add(gdstk.Label('vdd', (10.9275,1.365), layer=11, texttype=0))
sram_6t_dummy_array_1.add(gdstk.Label('vdd', (24.3225,1.365), layer=11, texttype=0))
sram_6t_dummy_array_1.add(gdstk.Label('vdd', (37.7175,1.365), layer=11, texttype=0))
sram_6t_dummy_array_1.add(gdstk.Label('vdd', (13.0425,1.365), layer=11, texttype=0))
sram_6t_dummy_array_1.add(gdstk.Label('vdd', (35.6025,1.365), layer=11, texttype=0))
sram_6t_dummy_array_1.add(gdstk.Label('vdd', (0.3525,1.365), layer=11, texttype=0))
sram_6t_dummy_array_1.add(gdstk.Label('vdd', (36.3075,1.365), layer=11, texttype=0))
sram_6t_dummy_array_1.add(gdstk.Label('vdd', (1.7625,1.365), layer=11, texttype=0))
sram_6t_dummy_array_1.add(gdstk.Label('vdd', (43.3575,1.365), layer=11, texttype=0))
sram_6t_dummy_array_1.add(gdstk.Label('vdd', (44.7675,1.365), layer=11, texttype=0))
sram_6t_dummy_array_1.add(gdstk.Label('vdd', (22.9125,1.365), layer=11, texttype=0))
sram_6t_dummy_array_1.add(gdstk.Label('vdd', (34.8975,1.365), layer=11, texttype=0))
sram_6t_dummy_array_1.add(gdstk.Label('vdd', (14.4525,1.365), layer=11, texttype=0))
sram_6t_dummy_array_1.add(gdstk.Label('vdd', (15.8625,1.365), layer=11, texttype=0))
sram_6t_dummy_array_1.add(gdstk.Label('vdd', (3.8775,1.365), layer=11, texttype=0))
sram_6t_dummy_array_1.add(gdstk.Label('vdd', (41.2425,1.365), layer=11, texttype=0))
sram_6t_dummy_array_1.add(gdstk.Label('vdd', (44.0625,1.365), layer=11, texttype=0))
sram_6t_dummy_array_1.add(gdstk.Label('vdd', (25.7325,1.365), layer=11, texttype=0))
sram_6t_dummy_array_1.add(gdstk.Label('vdd', (16.5675,1.365), layer=11, texttype=0))
sram_6t_dummy_array_1.add(gdstk.Label('vdd', (20.7975,1.365), layer=11, texttype=0))
sram_6t_dummy_array_1.add(gdstk.Label('vdd', (32.7825,1.365), layer=11, texttype=0))
sram_6t_dummy_array_1.add(gdstk.Label('vdd', (20.0925,1.365), layer=11, texttype=0))
sram_6t_dummy_array_1.add(gdstk.Label('vdd', (22.2075,1.365), layer=11, texttype=0))
sram_6t_dummy_array_1.add(gdstk.Label('vdd', (17.2725,1.365), layer=11, texttype=0))
sram_6t_dummy_array_1.add(gdstk.Label('vdd', (38.4225,1.365), layer=11, texttype=0))
sram_6t_dummy_array_1.add(gdstk.Label('vdd', (25.0275,1.365), layer=11, texttype=0))
sram_6t_dummy_array_1.add(gdstk.Label('vdd', (29.2575,1.365), layer=11, texttype=0))
sram_6t_dummy_array_1.add(gdstk.Label('vdd', (27.1425,1.365), layer=11, texttype=0))
sram_6t_dummy_array_1.add(gdstk.Label('vdd', (18.6825,1.365), layer=11, texttype=0))
sram_6t_dummy_array_1.add(gdstk.Label('vdd', (2.4675,1.365), layer=11, texttype=0))
sram_6t_dummy_array_1.add(gdstk.Label('vdd', (30.6675,1.365), layer=11, texttype=0))
sram_6t_dummy_array_1.add(gdstk.Label('vdd', (31.3725,1.365), layer=11, texttype=0))
sram_6t_dummy_array_1.add(gdstk.Label('vdd', (39.8325,1.365), layer=11, texttype=0))
sram_6t_dummy_array_1.add(gdstk.Label('vdd', (34.1925,1.365), layer=11, texttype=0))
sram_6t_dummy_array_1.add(gdstk.Label('vdd', (8.1075,1.365), layer=11, texttype=0))
sram_6t_dummy_array_1.add(gdstk.Label('vdd', (9.5175,1.365), layer=11, texttype=0))
sram_6t_dummy_array_1.add(gdstk.Label('vdd', (1.0575,1.365), layer=11, texttype=0))
sram_6t_dummy_array_1.add(gdstk.Label('vdd', (4.5825,1.365), layer=11, texttype=0))
sram_6t_dummy_array_1.add(gdstk.Label('gnd', (5.2875,0), layer=11, texttype=0))
sram_6t_dummy_array_1.add(gdstk.Label('gnd', (32.7825,0), layer=11, texttype=0))
sram_6t_dummy_array_1.add(gdstk.Label('gnd', (20.7975,0), layer=11, texttype=0))
sram_6t_dummy_array_1.add(gdstk.Label('gnd', (30.6675,0), layer=11, texttype=0))
sram_6t_dummy_array_1.add(gdstk.Label('gnd', (14.4525,0), layer=11, texttype=0))
sram_6t_dummy_array_1.add(gdstk.Label('gnd', (10.9275,0), layer=11, texttype=0))
sram_6t_dummy_array_1.add(gdstk.Label('gnd', (42.6525,0), layer=11, texttype=0))
sram_6t_dummy_array_1.add(gdstk.Label('gnd', (38.4225,0), layer=11, texttype=0))
sram_6t_dummy_array_1.add(gdstk.Label('gnd', (39.1275,0), layer=11, texttype=0))
sram_6t_dummy_array_1.add(gdstk.Label('gnd', (24.3225,0), layer=11, texttype=0))
sram_6t_dummy_array_1.add(gdstk.Label('gnd', (19.3875,0), layer=11, texttype=0))
sram_6t_dummy_array_1.add(gdstk.Label('gnd', (3.8775,0), layer=11, texttype=0))
sram_6t_dummy_array_1.add(gdstk.Label('gnd', (26.4375,0), layer=11, texttype=0))
sram_6t_dummy_array_1.add(gdstk.Label('gnd', (41.9475,0), layer=11, texttype=0))
sram_6t_dummy_array_1.add(gdstk.Label('gnd', (18.6825,0), layer=11, texttype=0))
sram_6t_dummy_array_1.add(gdstk.Label('gnd', (29.2575,0), layer=11, texttype=0))
sram_6t_dummy_array_1.add(gdstk.Label('gnd', (36.3075,0), layer=11, texttype=0))
sram_6t_dummy_array_1.add(gdstk.Label('gnd', (27.8475,0), layer=11, texttype=0))
sram_6t_dummy_array_1.add(gdstk.Label('gnd', (29.9625,0), layer=11, texttype=0))
sram_6t_dummy_array_1.add(gdstk.Label('gnd', (31.3725,0), layer=11, texttype=0))
sram_6t_dummy_array_1.add(gdstk.Label('gnd', (16.5675,0), layer=11, texttype=0))
sram_6t_dummy_array_1.add(gdstk.Label('gnd', (20.0925,0), layer=11, texttype=0))
sram_6t_dummy_array_1.add(gdstk.Label('gnd', (28.5525,0), layer=11, texttype=0))
sram_6t_dummy_array_1.add(gdstk.Label('gnd', (10.2225,0), layer=11, texttype=0))
sram_6t_dummy_array_1.add(gdstk.Label('gnd', (2.4675,0), layer=11, texttype=0))
sram_6t_dummy_array_1.add(gdstk.Label('gnd', (1.7625,0), layer=11, texttype=0))
sram_6t_dummy_array_1.add(gdstk.Label('gnd', (11.6325,0), layer=11, texttype=0))
sram_6t_dummy_array_1.add(gdstk.Label('gnd', (5.9925,0), layer=11, texttype=0))
sram_6t_dummy_array_1.add(gdstk.Label('gnd', (17.9775,0), layer=11, texttype=0))
sram_6t_dummy_array_1.add(gdstk.Label('gnd', (13.0425,0), layer=11, texttype=0))
sram_6t_dummy_array_1.add(gdstk.Label('gnd', (35.6025,0), layer=11, texttype=0))
sram_6t_dummy_array_1.add(gdstk.Label('gnd', (12.3375,0), layer=11, texttype=0))
sram_6t_dummy_array_1.add(gdstk.Label('gnd', (3.1725,0), layer=11, texttype=0))
sram_6t_dummy_array_1.add(gdstk.Label('gnd', (0.3525,0), layer=11, texttype=0))
sram_6t_dummy_array_1.add(gdstk.Label('gnd', (21.5025,0), layer=11, texttype=0))
sram_6t_dummy_array_1.add(gdstk.Label('gnd', (27.1425,0), layer=11, texttype=0))
sram_6t_dummy_array_1.add(gdstk.Label('gnd', (15.8625,0), layer=11, texttype=0))
sram_6t_dummy_array_1.add(gdstk.Label('gnd', (25.7325,0), layer=11, texttype=0))
sram_6t_dummy_array_1.add(gdstk.Label('gnd', (45.4725,0), layer=11, texttype=0))
sram_6t_dummy_array_1.add(gdstk.Label('gnd', (17.2725,0), layer=11, texttype=0))
sram_6t_dummy_array_1.add(gdstk.Label('gnd', (33.4875,0), layer=11, texttype=0))
sram_6t_dummy_array_1.add(gdstk.Label('gnd', (4.5825,0), layer=11, texttype=0))
sram_6t_dummy_array_1.add(gdstk.Label('gnd', (34.1925,0), layer=11, texttype=0))
sram_6t_dummy_array_1.add(gdstk.Label('gnd', (22.9125,0), layer=11, texttype=0))
sram_6t_dummy_array_1.add(gdstk.Label('gnd', (41.2425,0), layer=11, texttype=0))
sram_6t_dummy_array_1.add(gdstk.Label('gnd', (43.3575,0), layer=11, texttype=0))
sram_6t_dummy_array_1.add(gdstk.Label('gnd', (22.2075,0), layer=11, texttype=0))
sram_6t_dummy_array_1.add(gdstk.Label('gnd', (7.4025,0), layer=11, texttype=0))
sram_6t_dummy_array_1.add(gdstk.Label('gnd', (34.8975,0), layer=11, texttype=0))
sram_6t_dummy_array_1.add(gdstk.Label('gnd', (37.0125,0), layer=11, texttype=0))
sram_6t_dummy_array_1.add(gdstk.Label('gnd', (44.7675,0), layer=11, texttype=0))
sram_6t_dummy_array_1.add(gdstk.Label('gnd', (13.7475,0), layer=11, texttype=0))
sram_6t_dummy_array_1.add(gdstk.Label('gnd', (37.7175,0), layer=11, texttype=0))
sram_6t_dummy_array_1.add(gdstk.Label('gnd', (1.0575,0), layer=11, texttype=0))
sram_6t_dummy_array_1.add(gdstk.Label('gnd', (44.0625,0), layer=11, texttype=0))
sram_6t_dummy_array_1.add(gdstk.Label('gnd', (32.0775,0), layer=11, texttype=0))
sram_6t_dummy_array_1.add(gdstk.Label('gnd', (40.5375,0), layer=11, texttype=0))
sram_6t_dummy_array_1.add(gdstk.Label('gnd', (25.0275,0), layer=11, texttype=0))
sram_6t_dummy_array_1.add(gdstk.Label('gnd', (8.8125,0), layer=11, texttype=0))
sram_6t_dummy_array_1.add(gdstk.Label('gnd', (39.8325,0), layer=11, texttype=0))
sram_6t_dummy_array_1.add(gdstk.Label('gnd', (8.1075,0), layer=11, texttype=0))
sram_6t_dummy_array_1.add(gdstk.Label('gnd', (9.5175,0), layer=11, texttype=0))
sram_6t_dummy_array_1.add(gdstk.Label('gnd', (15.1575,0), layer=11, texttype=0))
sram_6t_dummy_array_1.add(gdstk.Label('gnd', (6.6975,0), layer=11, texttype=0))
sram_6t_dummy_array_1.add(gdstk.Label('gnd', (23.6175,0), layer=11, texttype=0))

lib.write_gds('sram_6T_dummy_array_1.gds')
